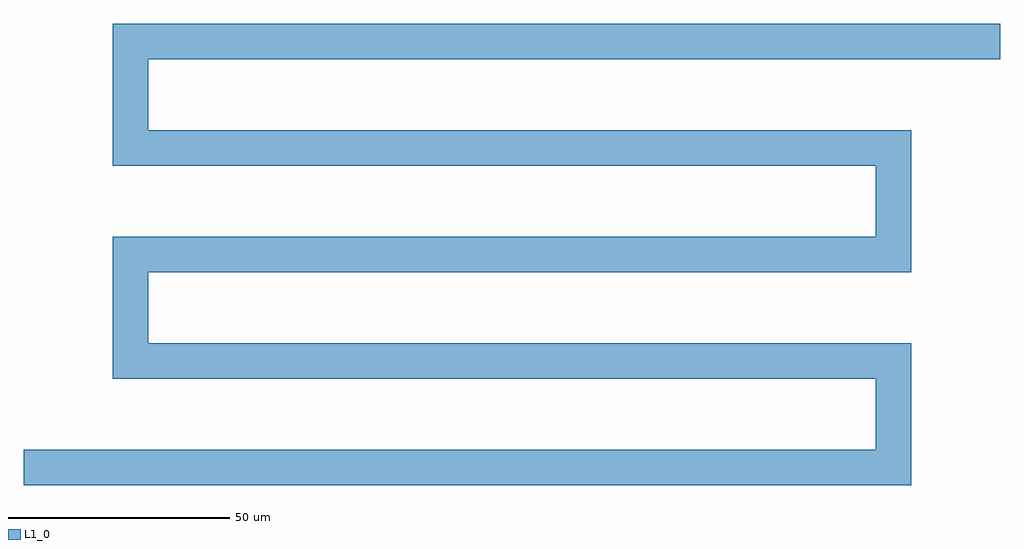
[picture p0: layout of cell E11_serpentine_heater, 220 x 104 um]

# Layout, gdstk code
import gdstk
lib = gdstk.Library(unit=1e-6, precision=1e-09)
def R(c, l, rs):  # rectangles x0, y0, x1, y1
    for r in rs: c.add(gdstk.rectangle(r[:2], r[2:], *l))
def A(c, l, x, y, w, h, nx, ny, dx, dy):  # array of equal rectangles
    R(c, l, [(x+i*dx, y+j*dy, x+i*dx+w, y+j*dy+h) for i in range(nx) for j in range(ny)])
L1_0 = (1, 0)

e11_serpentine_heater = lib.new_cell('E11_serpentine_heater')
A(e11_serpentine_heater, L1_0, 0, 0, 180, 8, 1, 5, 0, 24)
R(e11_serpentine_heater, L1_0, [(-20,0,0,8), (172,8,180,24), (0,32,8,48), (172,56,180,72), (0,80,8,96), (180,96,200,104)])

lib.write_gds('E11_serpentine_heater.gds')
